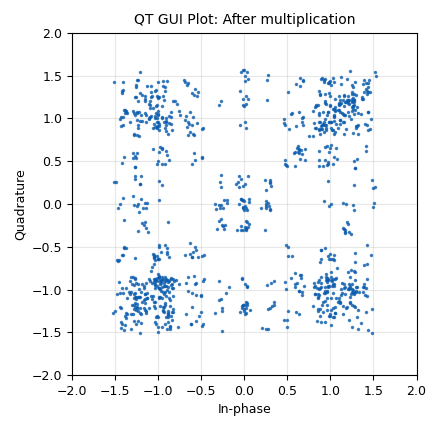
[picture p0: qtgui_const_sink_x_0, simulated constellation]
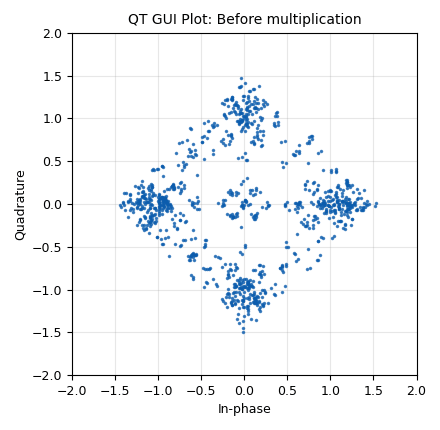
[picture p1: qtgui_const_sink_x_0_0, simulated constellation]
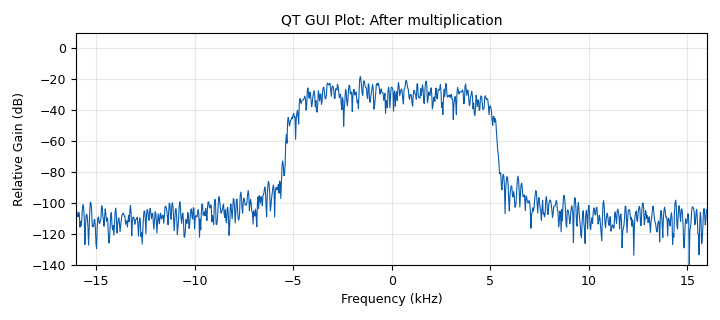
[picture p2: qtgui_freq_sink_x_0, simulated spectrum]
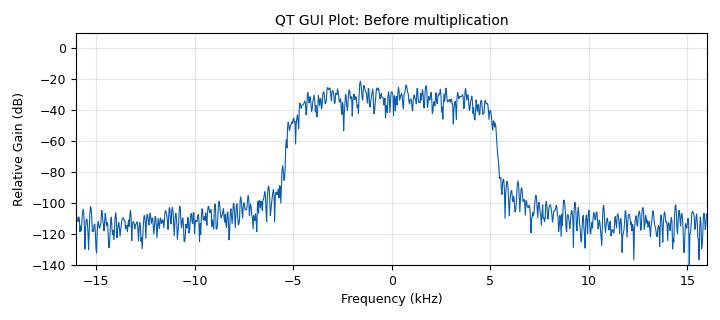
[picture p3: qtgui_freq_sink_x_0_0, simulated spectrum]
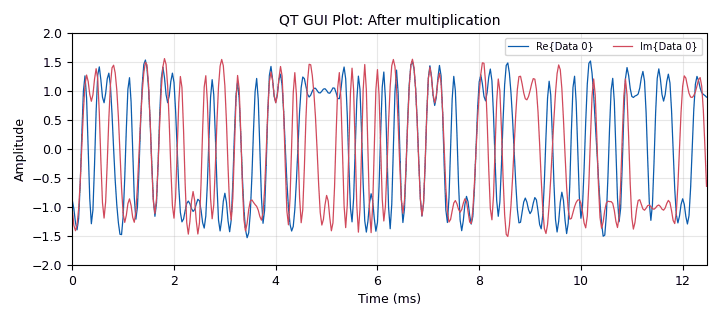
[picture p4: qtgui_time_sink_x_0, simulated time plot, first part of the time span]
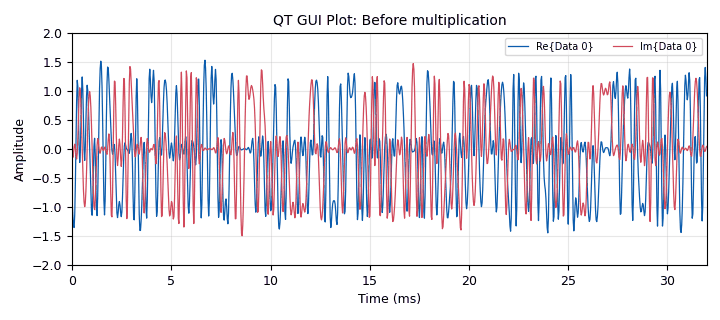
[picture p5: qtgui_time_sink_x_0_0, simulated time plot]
<?xml version='1.0' encoding='utf-8'?>
<?grc format='1' created='3.7.10'?>
<flow_graph>
<block>
<key>options</key>
<param><key>id</key><value>top_block</value></param>
<param><key>generate_options</key><value>qt_gui</value></param>
</block>
<block>
<key>variable</key>
<param><key>id</key><value>arity</value></param>
<param><key>value</key><value>4</value></param>
</block>
<block>
<key>variable</key>
<param><key>id</key><value>samp_rate</value></param>
<param><key>value</key><value>32000</value></param>
</block>
<block>
<key>variable</key>
<param><key>id</key><value>sps</value></param>
<param><key>value</key><value>4</value></param>
</block>
<block>
<key>analog_random_source_x</key>
<param><key>id</key><value>analog_random_source_x_0</value></param>
<param><key>max</key><value>256</value></param>
<param><key>min</key><value>0</value></param>
<param><key>num_samps</key><value>1000</value></param>
<param><key>type</key><value>byte</value></param>
<param><key>repeat</key><value>True</value></param>
</block>
<block>
<key>blocks_multiply_const_vxx</key>
<param><key>id</key><value>blocks_multiply_const_vxx_0</value></param>
<param><key>const</key><value>1+1j</value></param>
<param><key>type</key><value>complex</value></param>
</block>
<block>
<key>blocks_throttle</key>
<param><key>id</key><value>blocks_throttle_0</value></param>
<param><key>samples_per_second</key><value>samp_rate</value></param>
<param><key>type</key><value>complex</value></param>
</block>
<block>
<key>digital_psk_mod</key>
<param><key>id</key><value>digital_psk_mod_0</value></param>
<param><key>differential</key><value>True</value></param>
<param><key>excess_bw</key><value>0.35</value></param>
<param><key>mod_code</key><value>"gray"</value></param>
<param><key>constellation_points</key><value>arity</value></param>
<param><key>samples_per_symbol</key><value>sps</value></param>
</block>
<block>
<key>note</key>
<param><key>id</key><value>note_0</value></param>
<param><key>note</key><value>QPSK constellation</value></param>
</block>
<block>
<key>note</key>
<param><key>id</key><value>note_0_0</value></param>
<param><key>note</key><value>Multiplication with a constant</value></param>
</block>
<block>
<key>qtgui_const_sink_x</key>
<param><key>id</key><value>qtgui_const_sink_x_0</value></param>
<param><key>gui_hint</key><value>1,1,1,1</value></param>
<param><key>name</key><value>QT GUI Plot: After multiplication</value></param>
<param><key>size</key><value>1024</value></param>
<param><key>type</key><value>complex</value></param>
</block>
<block>
<key>qtgui_const_sink_x</key>
<param><key>id</key><value>qtgui_const_sink_x_0_0</value></param>
<param><key>gui_hint</key><value>1,0,1,1</value></param>
<param><key>name</key><value>QT GUI Plot: Before multiplication</value></param>
<param><key>size</key><value>1024</value></param>
<param><key>type</key><value>complex</value></param>
</block>
<block>
<key>qtgui_freq_sink_x</key>
<param><key>id</key><value>qtgui_freq_sink_x_0</value></param>
<param><key>bw</key><value>samp_rate</value></param>
<param><key>fc</key><value>0</value></param>
<param><key>fftsize</key><value>1024</value></param>
<param><key>gui_hint</key><value>2,1,1,1</value></param>
<param><key>name</key><value>QT GUI Plot: After multiplication</value></param>
<param><key>showports</key><value>True</value></param>
<param><key>type</key><value>complex</value></param>
<param><key>wintype</key><value>firdes.WIN_BLACKMAN_hARRIS</value></param>
</block>
<block>
<key>qtgui_freq_sink_x</key>
<param><key>id</key><value>qtgui_freq_sink_x_0_0</value></param>
<param><key>bw</key><value>samp_rate</value></param>
<param><key>fc</key><value>0</value></param>
<param><key>fftsize</key><value>1024</value></param>
<param><key>gui_hint</key><value>2,0,1,1</value></param>
<param><key>name</key><value>QT GUI Plot: Before multiplication</value></param>
<param><key>showports</key><value>True</value></param>
<param><key>type</key><value>complex</value></param>
<param><key>wintype</key><value>firdes.WIN_BLACKMAN_hARRIS</value></param>
</block>
<block>
<key>qtgui_time_sink_x</key>
<param><key>id</key><value>qtgui_time_sink_x_0</value></param>
<param><key>gui_hint</key><value>0,1,1,1</value></param>
<param><key>color1</key><value>"blue"</value></param>
<param><key>label1</key><value></value></param>
<param><key>color2</key><value>"red"</value></param>
<param><key>label2</key><value></value></param>
<param><key>name</key><value>QT GUI Plot: After multiplication</value></param>
<param><key>size</key><value>1024</value></param>
<param><key>srate</key><value>samp_rate</value></param>
<param><key>type</key><value>complex</value></param>
<param><key>ymax</key><value>2</value></param>
<param><key>ymin</key><value>-2</value></param>
</block>
<block>
<key>qtgui_time_sink_x</key>
<param><key>id</key><value>qtgui_time_sink_x_0_0</value></param>
<param><key>gui_hint</key><value>0,0,1,1</value></param>
<param><key>color1</key><value>"blue"</value></param>
<param><key>label1</key><value></value></param>
<param><key>color2</key><value>"red"</value></param>
<param><key>label2</key><value></value></param>
<param><key>name</key><value>QT GUI Plot: Before multiplication</value></param>
<param><key>size</key><value>1024</value></param>
<param><key>srate</key><value>samp_rate</value></param>
<param><key>type</key><value>complex</value></param>
<param><key>ymax</key><value>2</value></param>
<param><key>ymin</key><value>-2</value></param>
</block>
<connection><source_block_id>analog_random_source_x_0</source_block_id><sink_block_id>digital_psk_mod_0</sink_block_id><source_key>0</source_key><sink_key>0</sink_key></connection>
<connection><source_block_id>blocks_multiply_const_vxx_0</source_block_id><sink_block_id>blocks_throttle_0</sink_block_id><source_key>0</source_key><sink_key>0</sink_key></connection>
<connection><source_block_id>blocks_throttle_0</source_block_id><sink_block_id>qtgui_const_sink_x_0</sink_block_id><source_key>0</source_key><sink_key>0</sink_key></connection>
<connection><source_block_id>blocks_throttle_0</source_block_id><sink_block_id>qtgui_freq_sink_x_0</sink_block_id><source_key>0</source_key><sink_key>0</sink_key></connection>
<connection><source_block_id>blocks_throttle_0</source_block_id><sink_block_id>qtgui_time_sink_x_0</sink_block_id><source_key>0</source_key><sink_key>0</sink_key></connection>
<connection><source_block_id>digital_psk_mod_0</source_block_id><sink_block_id>blocks_multiply_const_vxx_0</sink_block_id><source_key>0</source_key><sink_key>0</sink_key></connection>
<connection><source_block_id>digital_psk_mod_0</source_block_id><sink_block_id>qtgui_const_sink_x_0_0</sink_block_id><source_key>0</source_key><sink_key>0</sink_key></connection>
<connection><source_block_id>digital_psk_mod_0</source_block_id><sink_block_id>qtgui_freq_sink_x_0_0</sink_block_id><source_key>0</source_key><sink_key>0</sink_key></connection>
<connection><source_block_id>digital_psk_mod_0</source_block_id><sink_block_id>qtgui_time_sink_x_0_0</sink_block_id><source_key>0</source_key><sink_key>0</sink_key></connection>
</flow_graph>
